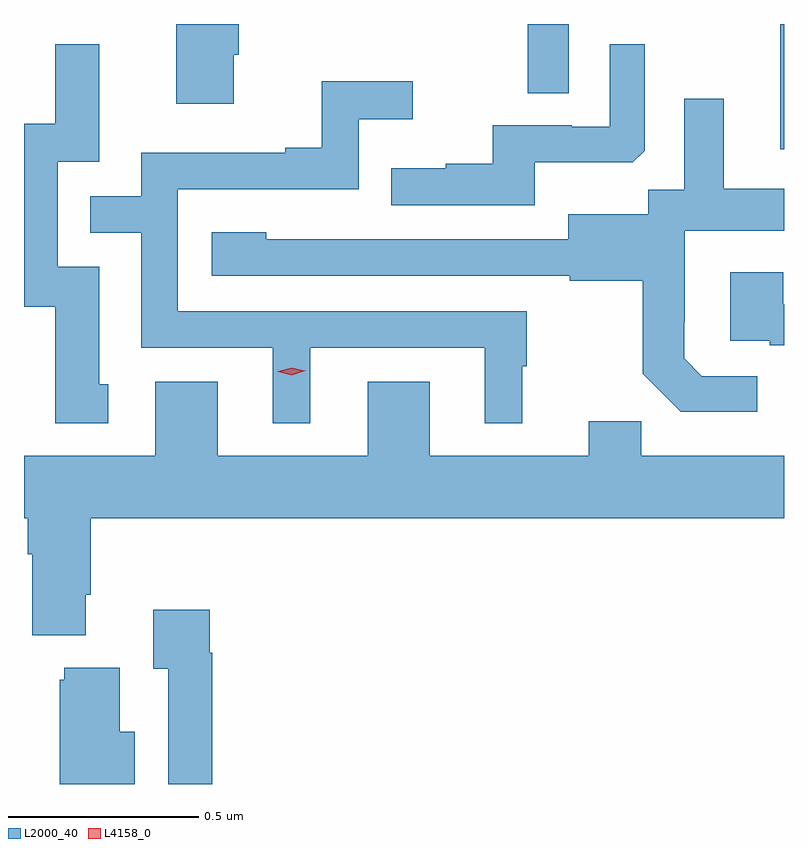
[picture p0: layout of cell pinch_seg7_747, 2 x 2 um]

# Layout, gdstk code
import gdstk
lib = gdstk.Library(unit=1e-6, precision=1e-09)
def R(c, l, rs):  # rectangles x0, y0, x1, y1
    for r in rs: c.add(gdstk.rectangle(r[:2], r[2:], *l))
def P(c, l, *ps):  # polygons
    for p in ps: c.add(gdstk.Polygon(p, *l))
L2000_40 = (2000, 40)
L4158_0 = (4158, 0)

pinch_seg7_747 = lib.new_cell('pinch_seg7_747')
R(pinch_seg7_747, L2000_40, [(363.917,1032.222,363.927,1032.552), (363.252,1032.37,363.36,1032.552)])
P(pinch_seg7_747, L2000_40, [(362.479,1032.471),(362.492,1032.471),(362.492,1032.552),(362.327,1032.552),(362.327,1032.342),(362.479,1032.342)],
  [(363.271,1032.188),(363.529,1032.188),(363.561,1032.219),(363.561,1032.499),(363.468,1032.499),(363.468,1032.282),(363.368,1032.282),(363.368,1032.285),(363.161,1032.285),(363.161,1032.184),(363.037,1032.184),(363.037,1032.172),(362.893,1032.172),(362.893,1032.075),(363.271,1032.075)],
  [(362.149,1031.604),(362.125,1031.604),(362.125,1031.913),(362.016,1031.913),(362.016,1032.189),(362.125,1032.189),(362.125,1032.499),(362.009,1032.499),(362.009,1032.29),(361.927,1032.29),(361.927,1031.808),(362.009,1031.808),(362.009,1031.502),(362.149,1031.502)],
  [(362.68,1031.7),(363.14,1031.7),(363.14,1031.501),(363.238,1031.501),(363.238,1031.652),(363.25,1031.652),(363.25,1031.796),(362.331,1031.796),(362.331,1032.117),(362.808,1032.117),(362.808,1032.302),(362.95,1032.302),(362.95,1032.401),(362.71,1032.401),(362.71,1032.226),(362.615,1032.226),(362.615,1032.213),(362.235,1032.213),(362.235,1032.099),(362.101,1032.099),(362.101,1032.003),(362.235,1032.003),(362.235,1031.7),(362.582,1031.7),(362.582,1031.501),(362.68,1031.501)],
  [(363.856,1031.625),(363.711,1031.625),(363.664,1031.672),(363.664,1031.767),(363.666,1031.767),(363.666,1032.008),(363.927,1032.008),(363.927,1032.118),(363.769,1032.118),(363.769,1032.355),(363.665,1032.355),(363.665,1032.116),(363.57,1032.116),(363.57,1032.052),(363.359,1032.052),(363.359,1031.985),(362.801,1031.985),(362.801,1031.986),(362.565,1031.986),(362.565,1032.004),(362.421,1032.004),(362.421,1031.889),(363.363,1031.889),(363.363,1031.877),(363.555,1031.877),(363.555,1031.631),(363.655,1031.531),(363.856,1031.531)],
  [(363.927,1031.814),(363.925,1031.814),(363.925,1031.899),(363.785,1031.899),(363.785,1031.718),(363.889,1031.718),(363.889,1031.706),(363.927,1031.706)],
  [(362.089,1031.05),(362.102,1031.05),(362.102,1031.252),(363.927,1031.252),(363.927,1031.416),(363.551,1031.416),(363.551,1031.507),(363.413,1031.507),(363.413,1031.416),(362.995,1031.416),(362.995,1031.611),(362.831,1031.611),(362.831,1031.416),(362.437,1031.416),(362.437,1031.611),(362.273,1031.611),(362.273,1031.416),(361.927,1031.416),(361.927,1031.252),(361.937,1031.252),(361.937,1031.156),(361.949,1031.156),(361.949,1030.943),(362.089,1030.943)],
  [(362.423,1030.898),(362.416,1030.898),(362.416,1031.011),(362.267,1031.011),(362.267,1030.855),(362.307,1030.855),(362.307,1030.552),(362.423,1030.552)],
  [(362.218,1030.69),(362.179,1030.69),(362.179,1030.858),(362.033,1030.858),(362.033,1030.827),(362.021,1030.827),(362.021,1030.552),(362.218,1030.552)])
P(pinch_seg7_747, L4158_0, [(362.631,1031.628),(362.596,1031.637),(362.595,1031.637),(362.596,1031.638),(362.631,1031.648),(362.667,1031.639),(362.667,1031.639),(362.667,1031.639)])

lib.write_gds('pinch_seg7_747.gds')
